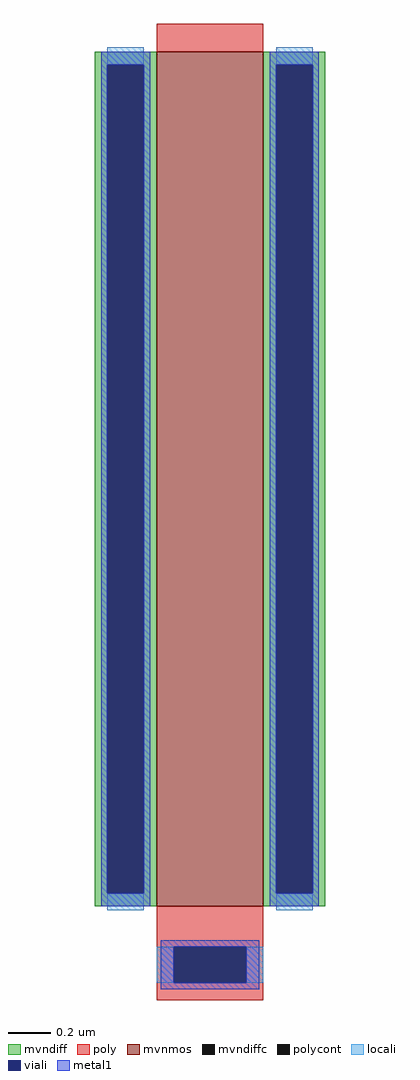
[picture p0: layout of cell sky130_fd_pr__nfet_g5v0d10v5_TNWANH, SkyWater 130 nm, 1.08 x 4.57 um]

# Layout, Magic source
magic
tech sky130A
magscale 1 2
<< mvnmos >>
rect -50 -369 50 431
<< mvndiff >>
rect -108 419 -50 431
rect -108 -357 -96 419
rect -62 -357 -50 419
rect -108 -369 -50 -357
rect 50 419 108 431
rect 50 -357 62 419
rect 96 -357 108 419
rect 50 -369 108 -357
<< mvndiffc >>
rect -96 -357 -62 419
rect 62 -357 96 419
<< poly >>
rect -50 431 50 457
rect -50 -407 50 -369
rect -50 -441 -34 -407
rect 34 -441 50 -407
rect -50 -457 50 -441
<< polycont >>
rect -34 -441 34 -407
<< locali >>
rect -96 419 -62 435
rect -96 -373 -62 -357
rect 62 419 96 435
rect 62 -373 96 -357
rect -50 -441 -34 -407
rect 34 -441 50 -407
<< viali >>
rect -96 -357 -62 419
rect 62 -357 96 419
rect -34 -441 34 -407
<< metal1 >>
rect -102 419 -56 431
rect -102 -357 -96 419
rect -62 -357 -56 419
rect -102 -369 -56 -357
rect 56 419 102 431
rect 56 -357 62 419
rect 96 -357 102 419
rect 56 -369 102 -357
rect -46 -407 46 -401
rect -46 -441 -34 -407
rect 34 -441 46 -407
rect -46 -447 46 -441
<< properties >>
string gencell sky130_fd_pr__nfet_g5v0d10v5
string library sky130
string parameters w 4 l 0.5 m 1 nf 1 diffcov 100 polycov 100 guard 0 glc 1 grc 1 gtc 1 gbc 1 tbcov 100 rlcov 100 topc 0 botc 1 poverlap 0 doverlap 1 lmin 0.50 wmin 0.42 compatible {sky130_fd_pr__nfet_01v8 sky130_fd_pr__nfet_01v8_lvt  sky130_fd_bs_flash__special_sonosfet_star  sky130_fd_pr__nfet_g5v0d10v5 sky130_fd_pr__nfet_05v0_nvt  sky130_fd_pr__nfet_03v3_nvt} full_metal 1 viasrc 100 viadrn 100 viagate 100 viagb 0 viagr 0 viagl 0 viagt 0
<< end >>
